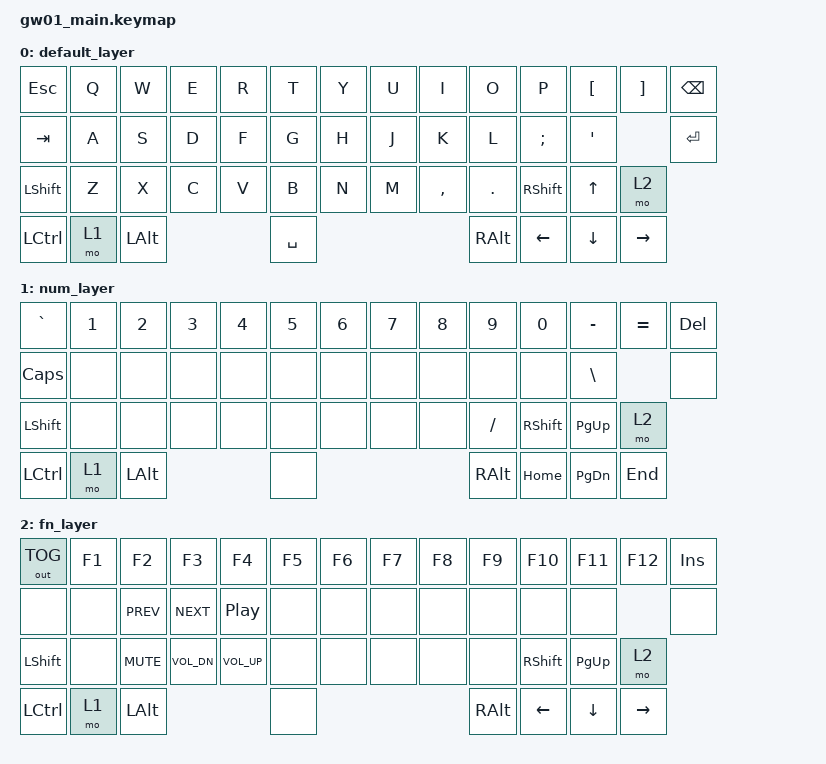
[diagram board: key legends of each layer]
#include <behaviors.dtsi>
#include <dt-bindings/zmk/keys.h>
#include <dt-bindings/zmk/bt.h>
#include <dt-bindings/zmk/outputs.h>

/ {
	keymap {
		compatible = "zmk,keymap";

		default_layer {
// -----------------------------------------------------------------------------------------
//   | ESC   | Q     | W     | E     | R     | T     | Y     | U     | I     | O     | P     | [     | ]     | BSPC  |
//   | TAB   | A     | S     | D     | F     | G     | H     | J     | K     | L     | ;     | '     |         ENTER |
//   | SHIFT | Z     | X     | C     | V     | B     | N     | M     | ,     | .     | SHIFT | UP    | MO(2) |
//   | CTRL  | MO(1) | ALT   |                 SPACE                         | ALT   | LEFT  | DOWN  | RIGHT |
			bindings = <
    &kp ESC          &kp Q            &kp W         &kp E         &kp R         &kp T            &kp Y            &kp U            &kp I            &kp O            &kp P            &kp LBKT         &kp RBKT         &kp BKSP
    &kp TAB          &kp A            &kp S         &kp D         &kp F         &kp G            &kp H            &kp J            &kp K            &kp L            &kp SCLN         &kp QUOT                          &kp ENTER
    &kp LSHFT        &kp Z            &kp X         &kp C         &kp V         &kp B            &kp N            &kp M            &kp CMMA         &kp DOT          &kp RSHFT        &kp UP           &mo 2
    &kp LCTRL        &mo 1            &kp LALT                                  &kp SPACE                                                           &kp RALT         &kp LEFT         &kp DOWN         &kp RIGHT                                
			>;
		};

        num_layer {
// -----------------------------------------------------------------------------------------
//   | GRAVE | 1     | 2     | 3     | 4     | 5     | 6     | 7     | 8     | 9     | 0     | -     | =     | DEL   |
//   | CAPS  |       |       |       |       |       |       |       |       |       |       | \     |               |
//   | SHIFT |       |       |       |       |       |       |       |       | /     | SHIFT | PGUP  | MO(2) |
//   | CTRL  | MO(1) | ALT   |                                               | ALT   | HOME  | PGDN  | END   |
            bindings = <
    &kp GRAVE        &kp NUMBER_1     &kp NUMBER_2  &kp NUMBER_3  &kp NUMBER_4  &kp NUMBER_5     &kp NUMBER_6     &kp NUMBER_7     &kp NUMBER_8     &kp NUMBER_9     &kp NUMBER_0     &kp MINUS        &kp EQUAL        &kp DEL
    &kp CAPS         &none            &none         &none         &none         &none            &none            &none            &none            &none            &none            &kp BSLH                          &none 
    &kp LSHFT        &none            &none         &none         &none         &none            &none            &none            &none            &kp SLASH        &kp RSHFT        &kp PG_UP        &mo 2
    &kp LCTRL        &mo 1            &kp LALT                                  &none                                                               &kp RALT         &kp HOME         &kp PG_DN        &kp END
			>;
        };

		fn_layer {
// -----------------------------------------------------------------------------------------
//   |OUT_TOG| F1    | F2    | F3    | F4    | F5    | F6    | F7    | F8    | F9    | F10   | F11   | F12   | INS   |
//   |       |       | PREV  | NEXT  | PLAY  |       |       |       |       |       |       |       |               |
//   | SHIFT |       | MUTE  | VOL_DN| VOL_UP|       |       |       |       |       | SHIFT | UP    | MO(2) |
//   | CTRL  | MO(1) | ALT   |                                               | ALT   | LEFT  | DOWN  | RIGHT |

			bindings = <
    &out OUT_TOG     &kp F1           &kp F2           &kp F3          &kp F4          &kp F5        &kp F6           &kp F7           &kp F8           &kp F9           &kp F10          &kp F11          &kp F12          &kp INS
    &none            &none            &kp C_PREV       &kp C_NEXT      &kp C_PP        &none         &none            &none            &none            &none            &none            &none                             &none 
    &kp LSHFT        &none            &kp C_MUTE       &kp C_VOL_DN    &kp C_VOL_UP    &none         &none            &none            &none            &none            &kp RSHFT        &kp PG_UP        &mo 2
    &kp LCTRL        &mo 1            &kp LALT                                         &none                                                            &kp RALT         &kp LEFT         &kp DOWN         &kp RIGHT
			>;
		};

	};
};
